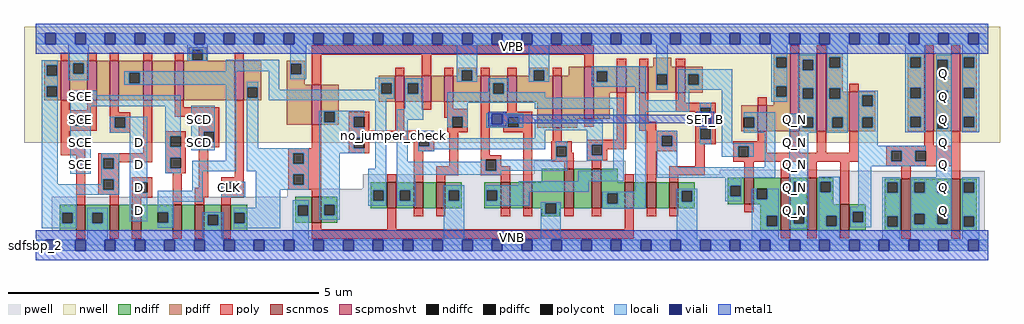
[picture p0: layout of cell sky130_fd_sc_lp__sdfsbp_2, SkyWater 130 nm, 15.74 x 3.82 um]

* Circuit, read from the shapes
.subckt sky130_fd_sc_lp__sdfsbp_2 CLK D SCD SCE SET_B VGND VNB VPB VPWR Q Q_N
XM1 VGND SCE n1 VNB sky130_fd_pr__nfet_01v8 w=0.42 l=0.15
XM2 n2 n1 VGND VNB sky130_fd_pr__nfet_01v8 w=0.42 l=0.15
XM3 n3 D n2 VNB sky130_fd_pr__nfet_01v8 w=0.42 l=0.15
XM4 n4 SCE n3 VNB sky130_fd_pr__nfet_01v8 w=0.42 l=0.15
XM5 VGND SCD n4 VNB sky130_fd_pr__nfet_01v8 w=0.42 l=0.15
XM6 n5 CLK VGND VNB sky130_fd_pr__nfet_01v8 w=0.42 l=0.15
XM7 n6 n5 VGND VNB sky130_fd_pr__nfet_01v8 w=0.42 l=0.15
XM8 n7 n5 n3 VNB sky130_fd_pr__nfet_01v8 w=0.42 l=0.15
XM9 n8 n6 n7 VNB sky130_fd_pr__nfet_01v8 w=0.42 l=0.15
XM10 VGND n9 n8 VNB sky130_fd_pr__nfet_01v8 w=0.42 l=0.15
XM11 n10 n7 n9 VNB sky130_fd_pr__nfet_01v8 w=0.42 l=0.15
XM12 VGND SET_B n10 VNB sky130_fd_pr__nfet_01v8 w=0.42 l=0.15
XM13 n11 n7 VGND VNB sky130_fd_pr__nfet_01v8 w=0.64 l=0.15
XM14 n12 n6 n11 VNB sky130_fd_pr__nfet_01v8 w=0.64 l=0.15
XM15 n13 n5 n12 VNB sky130_fd_pr__nfet_01v8 w=0.42 l=0.15
XM16 n14 n15 n13 VNB sky130_fd_pr__nfet_01v8 w=0.42 l=0.15
XM17 VGND SET_B n14 VNB sky130_fd_pr__nfet_01v8 w=0.42 l=0.15
XM18 VGND n12 n15 VNB sky130_fd_pr__nfet_01v8 w=0.42 l=0.15
XM19 Q_N n12 VGND VNB sky130_fd_pr__nfet_01v8 w=0.84 l=0.15 m=2
XM20 n16 n12 VGND VNB sky130_fd_pr__nfet_01v8 w=0.42 l=0.15
XM21 Q n16 VGND VNB sky130_fd_pr__nfet_01v8 w=0.84 l=0.15 m=2
XM22 VPWR SCE n1 VPB sky130_fd_pr__pfet_01v8_hvt w=0.64 l=0.15
XM23 n17 SCE VPWR VPB sky130_fd_pr__pfet_01v8_hvt w=0.64 l=0.15
XM24 n3 D n17 VPB sky130_fd_pr__pfet_01v8_hvt w=0.64 l=0.15
XM25 n18 n1 n3 VPB sky130_fd_pr__pfet_01v8_hvt w=0.64 l=0.15
XM26 VPWR SCD n18 VPB sky130_fd_pr__pfet_01v8_hvt w=0.64 l=0.15
XM27 n5 CLK VPWR VPB sky130_fd_pr__pfet_01v8_hvt w=0.64 l=0.15
XM28 n6 n5 VPWR VPB sky130_fd_pr__pfet_01v8_hvt w=0.64 l=0.15
XM29 n7 n6 n3 VPB sky130_fd_pr__pfet_01v8_hvt w=0.42 l=0.15
XM30 n19 n5 n7 VPB sky130_fd_pr__pfet_01v8_hvt w=0.42 l=0.15
XM31 VPWR n9 n19 VPB sky130_fd_pr__pfet_01v8_hvt w=0.42 l=0.15
XM32 n9 n7 VPWR VPB sky130_fd_pr__pfet_01v8_hvt w=0.42 l=0.15
XM33 VPWR SET_B n9 VPB sky130_fd_pr__pfet_01v8_hvt w=0.42 l=0.15
XM34 n20 n7 VPWR VPB sky130_fd_pr__pfet_01v8_hvt w=0.84 l=0.15
XM35 n12 n5 n20 VPB sky130_fd_pr__pfet_01v8_hvt w=0.84 l=0.15
XM36 n21 n6 n12 VPB sky130_fd_pr__pfet_01v8_hvt w=0.42 l=0.15
XM37 VPWR n15 n21 VPB sky130_fd_pr__pfet_01v8_hvt w=0.42 l=0.15
XM38 n12 SET_B VPWR VPB sky130_fd_pr__pfet_01v8_hvt w=0.42 l=0.15
XM39 VPWR n12 n15 VPB sky130_fd_pr__pfet_01v8_hvt w=0.42 l=0.15
XM40 Q_N n12 VPWR VPB sky130_fd_pr__pfet_01v8_hvt w=1.26 l=0.15 m=2
XM41 n16 n12 VPWR VPB sky130_fd_pr__pfet_01v8_hvt w=0.64 l=0.15
XM42 Q n16 VPWR VPB sky130_fd_pr__pfet_01v8_hvt w=1.26 l=0.15 m=2
.ends

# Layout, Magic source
magic
tech sky130A
magscale 1 2
<< nwell >>
rect -38 331 3110 704
<< pwell >>
rect 1606 229 1903 273
rect 2206 241 2598 243
rect 2206 229 3061 241
rect 1054 183 3061 229
rect 811 157 3061 183
rect 51 49 3061 157
rect 0 0 3072 49
<< scnmos >>
rect 130 47 160 131
rect 238 47 268 131
rect 310 47 340 131
rect 441 47 471 131
rect 513 47 543 131
rect 599 47 629 131
rect 890 73 920 157
rect 1133 119 1163 203
rect 1219 119 1249 203
rect 1291 119 1321 203
rect 1500 119 1530 203
rect 1572 119 1602 203
rect 1705 119 1735 247
rect 1794 119 1824 247
rect 1899 119 1929 203
rect 1971 119 2001 203
rect 2043 119 2073 203
rect 2285 133 2315 217
rect 2403 49 2433 217
rect 2489 49 2519 217
rect 2594 49 2624 133
rect 2792 47 2822 215
rect 2952 47 2982 215
<< scpmoshvt >>
rect 80 467 110 595
rect 166 467 196 595
rect 238 467 268 595
rect 346 467 376 595
rect 448 467 478 595
rect 641 467 671 595
rect 890 389 920 517
rect 1159 463 1189 547
rect 1245 463 1275 547
rect 1317 463 1347 547
rect 1435 463 1465 547
rect 1521 463 1551 547
rect 1667 379 1697 547
rect 1769 408 1799 576
rect 1874 492 1904 576
rect 1946 492 1976 576
rect 2064 492 2094 576
rect 2328 367 2358 451
rect 2433 367 2463 619
rect 2519 367 2549 619
rect 2624 367 2654 495
rect 2866 367 2896 619
rect 2952 367 2982 619
<< ndiff >>
rect 1632 203 1705 247
rect 1080 178 1133 203
rect 77 105 130 131
rect 77 71 85 105
rect 119 71 130 105
rect 77 47 130 71
rect 160 105 238 131
rect 160 71 182 105
rect 216 71 238 105
rect 160 47 238 71
rect 268 47 310 131
rect 340 106 441 131
rect 340 72 394 106
rect 428 72 441 106
rect 340 47 441 72
rect 471 47 513 131
rect 543 99 599 131
rect 543 65 554 99
rect 588 65 599 99
rect 543 47 599 65
rect 629 105 682 131
rect 629 71 640 105
rect 674 71 682 105
rect 837 129 890 157
rect 837 95 845 129
rect 879 95 890 129
rect 837 73 890 95
rect 920 130 973 157
rect 920 96 931 130
rect 965 96 973 130
rect 1080 144 1088 178
rect 1122 144 1133 178
rect 1080 119 1133 144
rect 1163 178 1219 203
rect 1163 144 1174 178
rect 1208 144 1219 178
rect 1163 119 1219 144
rect 1249 119 1291 203
rect 1321 178 1374 203
rect 1321 144 1332 178
rect 1366 144 1374 178
rect 1321 119 1374 144
rect 1447 178 1500 203
rect 1447 144 1455 178
rect 1489 144 1500 178
rect 1447 119 1500 144
rect 1530 119 1572 203
rect 1602 135 1705 203
rect 1602 119 1644 135
rect 920 73 973 96
rect 629 47 682 71
rect 1632 101 1644 119
rect 1678 119 1705 135
rect 1735 119 1794 247
rect 1824 203 1877 247
rect 1824 168 1899 203
rect 1824 134 1843 168
rect 1877 134 1899 168
rect 1824 119 1899 134
rect 1929 119 1971 203
rect 2001 119 2043 203
rect 2073 175 2126 203
rect 2073 141 2084 175
rect 2118 141 2126 175
rect 2073 119 2126 141
rect 2232 192 2285 217
rect 2232 158 2240 192
rect 2274 158 2285 192
rect 2232 133 2285 158
rect 2315 183 2403 217
rect 2315 149 2326 183
rect 2360 149 2403 183
rect 2315 133 2403 149
rect 1678 101 1690 119
rect 1632 93 1690 101
rect 2337 95 2403 133
rect 2337 61 2358 95
rect 2392 61 2403 95
rect 2337 49 2403 61
rect 2433 205 2489 217
rect 2433 171 2444 205
rect 2478 171 2489 205
rect 2433 103 2489 171
rect 2433 69 2444 103
rect 2478 69 2489 103
rect 2433 49 2489 69
rect 2519 205 2572 217
rect 2519 171 2530 205
rect 2564 171 2572 205
rect 2519 133 2572 171
rect 2739 203 2792 215
rect 2739 169 2747 203
rect 2781 169 2792 203
rect 2519 95 2594 133
rect 2519 61 2549 95
rect 2583 61 2594 95
rect 2519 49 2594 61
rect 2624 108 2677 133
rect 2624 74 2635 108
rect 2669 74 2677 108
rect 2624 49 2677 74
rect 2739 93 2792 169
rect 2739 59 2747 93
rect 2781 59 2792 93
rect 2739 47 2792 59
rect 2822 203 2952 215
rect 2822 169 2833 203
rect 2867 169 2907 203
rect 2941 169 2952 203
rect 2822 101 2952 169
rect 2822 67 2833 101
rect 2867 67 2907 101
rect 2941 67 2952 101
rect 2822 47 2952 67
rect 2982 203 3035 215
rect 2982 169 2993 203
rect 3027 169 3035 203
rect 2982 93 3035 169
rect 2982 59 2993 93
rect 3027 59 3035 93
rect 2982 47 3035 59
<< pdiff >>
rect 493 631 551 639
rect 493 597 505 631
rect 539 597 551 631
rect 493 595 551 597
rect 27 581 80 595
rect 27 547 35 581
rect 69 547 80 581
rect 27 513 80 547
rect 27 479 35 513
rect 69 479 80 513
rect 27 467 80 479
rect 110 587 166 595
rect 110 553 121 587
rect 155 553 166 587
rect 110 467 166 553
rect 196 467 238 595
rect 268 557 346 595
rect 268 523 301 557
rect 335 523 346 557
rect 268 467 346 523
rect 376 467 448 595
rect 478 467 641 595
rect 671 509 728 595
rect 671 475 682 509
rect 716 475 728 509
rect 671 467 728 475
rect 810 585 868 595
rect 810 551 822 585
rect 856 551 868 585
rect 810 517 868 551
rect 2380 607 2433 619
rect 1991 576 2049 605
rect 1362 564 1420 572
rect 1362 547 1374 564
rect 1106 522 1159 547
rect 810 389 890 517
rect 920 431 977 517
rect 1106 488 1114 522
rect 1148 488 1159 522
rect 1106 463 1159 488
rect 1189 522 1245 547
rect 1189 488 1200 522
rect 1234 488 1245 522
rect 1189 463 1245 488
rect 1275 463 1317 547
rect 1347 530 1374 547
rect 1408 547 1420 564
rect 1594 564 1652 572
rect 1594 547 1606 564
rect 1408 530 1435 547
rect 1347 463 1435 530
rect 1465 522 1521 547
rect 1465 488 1476 522
rect 1510 488 1521 522
rect 1465 463 1521 488
rect 1551 530 1606 547
rect 1640 547 1652 564
rect 1719 547 1769 576
rect 1640 530 1667 547
rect 1551 463 1667 530
rect 920 397 931 431
rect 965 397 977 431
rect 920 389 977 397
rect 1617 379 1667 463
rect 1697 408 1769 547
rect 1799 561 1874 576
rect 1799 527 1810 561
rect 1844 527 1874 561
rect 1799 492 1874 527
rect 1904 492 1946 576
rect 1976 551 2064 576
rect 1976 517 2003 551
rect 2037 517 2064 551
rect 1976 492 2064 517
rect 2094 551 2151 576
rect 2094 517 2105 551
rect 2139 517 2151 551
rect 2094 492 2151 517
rect 2380 573 2388 607
rect 2422 573 2433 607
rect 2380 513 2433 573
rect 1799 408 1852 492
rect 1697 379 1747 408
rect 2380 479 2388 513
rect 2422 479 2433 513
rect 2380 451 2433 479
rect 2275 413 2328 451
rect 2275 379 2283 413
rect 2317 379 2328 413
rect 2275 367 2328 379
rect 2358 367 2433 451
rect 2463 599 2519 619
rect 2463 565 2474 599
rect 2508 565 2519 599
rect 2463 507 2519 565
rect 2463 473 2474 507
rect 2508 473 2519 507
rect 2463 413 2519 473
rect 2463 379 2474 413
rect 2508 379 2519 413
rect 2463 367 2519 379
rect 2549 607 2602 619
rect 2549 573 2560 607
rect 2594 573 2602 607
rect 2549 506 2602 573
rect 2813 607 2866 619
rect 2813 573 2821 607
rect 2855 573 2866 607
rect 2549 472 2560 506
rect 2594 495 2602 506
rect 2813 508 2866 573
rect 2594 472 2624 495
rect 2549 413 2624 472
rect 2549 379 2569 413
rect 2603 379 2624 413
rect 2549 367 2624 379
rect 2654 483 2707 495
rect 2654 449 2665 483
rect 2699 449 2707 483
rect 2654 413 2707 449
rect 2654 379 2665 413
rect 2699 379 2707 413
rect 2654 367 2707 379
rect 2813 474 2821 508
rect 2855 474 2866 508
rect 2813 414 2866 474
rect 2813 380 2821 414
rect 2855 380 2866 414
rect 2813 367 2866 380
rect 2896 599 2952 619
rect 2896 565 2907 599
rect 2941 565 2952 599
rect 2896 498 2952 565
rect 2896 464 2907 498
rect 2941 464 2952 498
rect 2896 409 2952 464
rect 2896 375 2907 409
rect 2941 375 2952 409
rect 2896 367 2952 375
rect 2982 607 3035 619
rect 2982 573 2993 607
rect 3027 573 3035 607
rect 2982 508 3035 573
rect 2982 474 2993 508
rect 3027 474 3035 508
rect 2982 414 3035 474
rect 2982 380 2993 414
rect 3027 380 3035 414
rect 2982 367 3035 380
<< ndiffc >>
rect 85 71 119 105
rect 182 71 216 105
rect 394 72 428 106
rect 554 65 588 99
rect 640 71 674 105
rect 845 95 879 129
rect 931 96 965 130
rect 1088 144 1122 178
rect 1174 144 1208 178
rect 1332 144 1366 178
rect 1455 144 1489 178
rect 1644 101 1678 135
rect 1843 134 1877 168
rect 2084 141 2118 175
rect 2240 158 2274 192
rect 2326 149 2360 183
rect 2358 61 2392 95
rect 2444 171 2478 205
rect 2444 69 2478 103
rect 2530 171 2564 205
rect 2747 169 2781 203
rect 2549 61 2583 95
rect 2635 74 2669 108
rect 2747 59 2781 93
rect 2833 169 2867 203
rect 2907 169 2941 203
rect 2833 67 2867 101
rect 2907 67 2941 101
rect 2993 169 3027 203
rect 2993 59 3027 93
<< pdiffc >>
rect 505 597 539 631
rect 35 547 69 581
rect 35 479 69 513
rect 121 553 155 587
rect 301 523 335 557
rect 682 475 716 509
rect 822 551 856 585
rect 1114 488 1148 522
rect 1200 488 1234 522
rect 1374 530 1408 564
rect 1476 488 1510 522
rect 1606 530 1640 564
rect 931 397 965 431
rect 1810 527 1844 561
rect 2003 517 2037 551
rect 2105 517 2139 551
rect 2388 573 2422 607
rect 2388 479 2422 513
rect 2283 379 2317 413
rect 2474 565 2508 599
rect 2474 473 2508 507
rect 2474 379 2508 413
rect 2560 573 2594 607
rect 2821 573 2855 607
rect 2560 472 2594 506
rect 2569 379 2603 413
rect 2665 449 2699 483
rect 2665 379 2699 413
rect 2821 474 2855 508
rect 2821 380 2855 414
rect 2907 565 2941 599
rect 2907 464 2941 498
rect 2907 375 2941 409
rect 2993 573 3027 607
rect 2993 474 3027 508
rect 2993 380 3027 414
<< poly >>
rect 80 595 110 621
rect 166 595 196 621
rect 238 595 268 621
rect 346 595 376 621
rect 448 595 478 621
rect 641 595 671 621
rect 890 615 1799 645
rect 2433 619 2463 645
rect 2519 619 2549 645
rect 2866 619 2896 645
rect 2952 619 2982 645
rect 890 517 920 615
rect 1159 547 1189 573
rect 1245 547 1275 615
rect 1769 576 1799 615
rect 1874 576 1904 602
rect 1946 576 1976 602
rect 2064 576 2094 602
rect 1317 547 1347 573
rect 80 435 110 467
rect 166 435 196 467
rect 80 419 196 435
rect 80 385 127 419
rect 161 385 196 419
rect 80 369 196 385
rect 238 429 268 467
rect 238 413 304 429
rect 238 379 254 413
rect 288 379 304 413
rect 80 321 110 369
rect 238 363 304 379
rect 80 291 160 321
rect 346 297 376 467
rect 448 445 478 467
rect 448 415 592 445
rect 130 131 160 291
rect 202 281 376 297
rect 202 247 218 281
rect 252 267 376 281
rect 418 351 484 367
rect 418 317 434 351
rect 468 317 484 351
rect 418 283 484 317
rect 252 247 268 267
rect 202 213 268 247
rect 418 249 434 283
rect 468 249 484 283
rect 418 233 484 249
rect 526 366 592 415
rect 526 332 542 366
rect 576 332 592 366
rect 526 316 592 332
rect 202 179 218 213
rect 252 179 268 213
rect 202 163 268 179
rect 238 131 268 163
rect 310 203 376 219
rect 310 169 326 203
rect 360 169 376 203
rect 310 153 376 169
rect 310 131 340 153
rect 441 131 471 233
rect 526 185 556 316
rect 641 219 671 467
rect 1435 547 1465 573
rect 1521 547 1551 573
rect 1667 547 1697 573
rect 1009 415 1075 431
rect 890 313 920 389
rect 513 155 556 185
rect 599 203 671 219
rect 599 169 615 203
rect 649 169 671 203
rect 815 297 920 313
rect 1009 381 1025 415
rect 1059 381 1075 415
rect 1009 369 1075 381
rect 1159 369 1189 463
rect 1245 437 1275 463
rect 1317 441 1347 463
rect 1317 415 1393 441
rect 1317 411 1343 415
rect 1327 381 1343 411
rect 1377 381 1393 415
rect 1009 353 1285 369
rect 1327 365 1393 381
rect 1009 347 1235 353
rect 1009 313 1025 347
rect 1059 339 1235 347
rect 1059 313 1075 339
rect 1009 297 1075 313
rect 1219 319 1235 339
rect 1269 319 1285 353
rect 1219 303 1285 319
rect 815 263 831 297
rect 865 263 920 297
rect 815 229 920 263
rect 815 195 831 229
rect 865 195 920 229
rect 1133 203 1163 229
rect 1219 203 1249 303
rect 1333 255 1363 365
rect 1291 225 1363 255
rect 1435 291 1465 463
rect 1521 431 1551 463
rect 1507 415 1602 431
rect 1507 381 1523 415
rect 1557 381 1602 415
rect 1507 365 1602 381
rect 1769 382 1799 408
rect 1435 275 1501 291
rect 1435 241 1451 275
rect 1485 255 1501 275
rect 1485 241 1530 255
rect 1435 225 1530 241
rect 1291 203 1321 225
rect 1500 203 1530 225
rect 1572 203 1602 365
rect 1667 335 1697 379
rect 1874 340 1904 492
rect 1946 399 1976 492
rect 2064 460 2094 492
rect 2064 444 2193 460
rect 2328 451 2358 477
rect 2064 430 2143 444
rect 2127 410 2143 430
rect 2177 410 2193 444
rect 1946 369 2001 399
rect 2127 376 2193 410
rect 1663 319 1729 335
rect 1663 285 1679 319
rect 1713 299 1729 319
rect 1777 324 1904 340
rect 1713 285 1735 299
rect 1663 269 1735 285
rect 1777 290 1793 324
rect 1827 310 1904 324
rect 1971 353 2069 369
rect 1971 319 2019 353
rect 2053 319 2069 353
rect 1827 290 1843 310
rect 1777 274 1843 290
rect 1971 303 2069 319
rect 2127 342 2143 376
rect 2177 342 2193 376
rect 2624 495 2654 521
rect 2127 326 2193 342
rect 2328 335 2358 367
rect 1705 247 1735 269
rect 1794 247 1824 274
rect 815 179 920 195
rect 513 131 543 155
rect 599 153 671 169
rect 890 157 920 179
rect 599 131 629 153
rect 890 51 920 73
rect 1133 51 1163 119
rect 1219 93 1249 119
rect 1291 93 1321 119
rect 1500 93 1530 119
rect 1572 93 1602 119
rect 1899 203 1929 229
rect 1971 203 2001 303
rect 2127 255 2157 326
rect 2249 319 2358 335
rect 2249 285 2265 319
rect 2299 299 2358 319
rect 2433 299 2463 367
rect 2519 299 2549 367
rect 2624 299 2654 367
rect 2866 321 2896 367
rect 2952 321 2982 367
rect 2299 285 2654 299
rect 2249 269 2654 285
rect 2743 305 2982 321
rect 2743 271 2759 305
rect 2793 271 2837 305
rect 2871 271 2982 305
rect 2043 225 2157 255
rect 2043 203 2073 225
rect 2285 217 2315 269
rect 2403 217 2433 269
rect 2489 217 2519 269
rect 1705 93 1735 119
rect 1794 93 1824 119
rect 1899 51 1929 119
rect 1971 93 2001 119
rect 2043 93 2073 119
rect 2285 107 2315 133
rect 130 21 160 47
rect 238 21 268 47
rect 310 21 340 47
rect 441 21 471 47
rect 513 21 543 47
rect 599 21 629 47
rect 890 21 1929 51
rect 2594 133 2624 269
rect 2743 255 2982 271
rect 2792 215 2822 255
rect 2952 215 2982 255
rect 2403 23 2433 49
rect 2489 23 2519 49
rect 2594 23 2624 49
rect 2792 21 2822 47
rect 2952 21 2982 47
<< polycont >>
rect 127 385 161 419
rect 254 379 288 413
rect 218 247 252 281
rect 434 317 468 351
rect 434 249 468 283
rect 542 332 576 366
rect 218 179 252 213
rect 326 169 360 203
rect 615 169 649 203
rect 1025 381 1059 415
rect 1343 381 1377 415
rect 1025 313 1059 347
rect 1235 319 1269 353
rect 831 263 865 297
rect 831 195 865 229
rect 1523 381 1557 415
rect 1451 241 1485 275
rect 2143 410 2177 444
rect 1679 285 1713 319
rect 1793 290 1827 324
rect 2019 319 2053 353
rect 2143 342 2177 376
rect 2265 285 2299 319
rect 2759 271 2793 305
rect 2837 271 2871 305
<< locali >>
rect 0 649 31 683
rect 65 649 127 683
rect 161 649 223 683
rect 257 649 319 683
rect 353 649 415 683
rect 449 649 511 683
rect 545 649 607 683
rect 641 649 703 683
rect 737 649 799 683
rect 833 649 895 683
rect 929 649 991 683
rect 1025 649 1087 683
rect 1121 649 1183 683
rect 1217 649 1279 683
rect 1313 649 1375 683
rect 1409 649 1471 683
rect 1505 649 1567 683
rect 1601 649 1663 683
rect 1697 649 1759 683
rect 1793 649 1855 683
rect 1889 649 1951 683
rect 1985 649 2047 683
rect 2081 649 2143 683
rect 2177 649 2239 683
rect 2273 649 2335 683
rect 2369 649 2431 683
rect 2465 649 2527 683
rect 2561 649 2623 683
rect 2657 649 2719 683
rect 2753 649 2815 683
rect 2849 649 2911 683
rect 2945 649 3007 683
rect 3041 649 3072 683
rect 19 581 71 597
rect 19 547 35 581
rect 69 547 71 581
rect 19 513 71 547
rect 105 587 171 649
rect 489 631 555 649
rect 489 597 505 631
rect 539 597 555 631
rect 489 595 555 597
rect 105 553 121 587
rect 155 553 171 587
rect 612 561 786 599
rect 105 532 171 553
rect 285 557 646 561
rect 285 523 301 557
rect 335 523 646 557
rect 285 517 646 523
rect 19 479 35 513
rect 69 479 71 513
rect 19 197 71 479
rect 111 483 197 498
rect 111 449 468 483
rect 111 419 177 449
rect 111 385 127 419
rect 161 385 177 419
rect 111 231 177 385
rect 238 413 360 415
rect 238 379 254 413
rect 288 379 360 413
rect 238 363 360 379
rect 211 281 269 297
rect 211 247 218 281
rect 252 247 269 281
rect 211 213 269 247
rect 211 197 218 213
rect 19 179 218 197
rect 252 179 269 213
rect 19 163 269 179
rect 303 203 360 363
rect 418 351 468 449
rect 418 317 434 351
rect 418 283 468 317
rect 502 366 578 450
rect 502 332 542 366
rect 576 332 578 366
rect 502 307 578 332
rect 418 249 434 283
rect 612 273 646 517
rect 418 233 468 249
rect 504 239 646 273
rect 680 509 718 527
rect 680 475 682 509
rect 716 475 718 509
rect 680 313 718 475
rect 752 501 786 561
rect 820 585 872 649
rect 820 551 822 585
rect 856 551 872 585
rect 820 535 872 551
rect 1358 564 1424 649
rect 1095 522 1156 541
rect 1095 501 1114 522
rect 752 488 1114 501
rect 1148 488 1156 522
rect 752 472 1156 488
rect 1190 522 1250 538
rect 1358 530 1374 564
rect 1408 530 1424 564
rect 1590 564 1656 649
rect 1358 528 1424 530
rect 1190 488 1200 522
rect 1234 488 1250 522
rect 1460 522 1526 538
rect 1590 530 1606 564
rect 1640 530 1656 564
rect 1590 528 1656 530
rect 1794 561 1967 577
rect 1460 494 1476 522
rect 752 467 1131 472
rect 915 431 1059 433
rect 915 397 931 431
rect 965 415 1059 431
rect 965 397 1025 415
rect 915 381 1025 397
rect 915 347 1059 381
rect 915 313 1025 347
rect 680 297 881 313
rect 680 263 831 297
rect 865 263 881 297
rect 680 239 881 263
rect 303 169 326 203
rect 504 175 538 239
rect 710 229 881 239
rect 19 105 132 163
rect 19 71 85 105
rect 119 71 132 105
rect 19 55 132 71
rect 166 105 232 121
rect 166 71 182 105
rect 216 71 232 105
rect 303 77 360 169
rect 394 141 538 175
rect 599 203 676 205
rect 599 169 615 203
rect 649 169 676 203
rect 599 155 676 169
rect 710 195 831 229
rect 865 195 881 229
rect 710 179 881 195
rect 915 297 1059 313
rect 394 106 444 141
rect 710 121 788 179
rect 166 17 232 71
rect 428 72 444 106
rect 394 56 444 72
rect 538 99 604 107
rect 538 65 554 99
rect 588 65 604 99
rect 538 17 604 65
rect 638 105 788 121
rect 638 71 640 105
rect 674 71 788 105
rect 638 55 788 71
rect 829 129 881 145
rect 829 95 845 129
rect 879 95 881 129
rect 829 17 881 95
rect 915 130 981 297
rect 1095 247 1131 467
rect 1190 438 1250 488
rect 915 96 931 130
rect 965 96 981 130
rect 1072 178 1131 247
rect 1072 144 1088 178
rect 1122 144 1131 178
rect 1072 128 1131 144
rect 1165 404 1250 438
rect 1327 488 1476 494
rect 1510 494 1526 522
rect 1794 527 1810 561
rect 1844 527 1967 561
rect 1794 511 1967 527
rect 1510 488 1643 494
rect 1327 475 1643 488
rect 1327 460 1897 475
rect 1327 415 1393 460
rect 1609 441 1897 460
rect 1165 269 1199 404
rect 1327 381 1343 415
rect 1377 381 1393 415
rect 1453 424 1573 426
rect 1453 390 1471 424
rect 1505 415 1573 424
rect 1505 390 1523 415
rect 1453 381 1523 390
rect 1557 381 1573 415
rect 1453 379 1573 381
rect 1609 371 1829 405
rect 1233 353 1285 369
rect 1233 319 1235 353
rect 1269 345 1285 353
rect 1609 345 1643 371
rect 1269 319 1643 345
rect 1233 309 1643 319
rect 1677 319 1715 335
rect 1233 303 1286 309
rect 1677 285 1679 319
rect 1713 285 1715 319
rect 1677 275 1715 285
rect 1435 269 1451 275
rect 1165 241 1451 269
rect 1485 241 1715 275
rect 1777 324 1829 371
rect 1777 290 1793 324
rect 1827 290 1829 324
rect 1777 274 1829 290
rect 1165 228 1501 241
rect 1863 240 1897 441
rect 1165 178 1224 228
rect 1749 207 1897 240
rect 1558 206 1897 207
rect 1933 467 1967 511
rect 2001 551 2039 649
rect 2372 607 2424 649
rect 2372 573 2388 607
rect 2422 573 2424 607
rect 2001 517 2003 551
rect 2037 517 2039 551
rect 2001 501 2039 517
rect 2073 551 2247 567
rect 2073 517 2105 551
rect 2139 517 2247 551
rect 2073 501 2247 517
rect 2073 467 2107 501
rect 1933 431 2107 467
rect 2141 444 2179 460
rect 1558 194 1783 206
rect 1165 144 1174 178
rect 1208 144 1224 178
rect 1165 128 1224 144
rect 1316 178 1382 194
rect 1316 144 1332 178
rect 1366 144 1382 178
rect 915 82 981 96
rect 1316 17 1382 144
rect 1451 178 1783 194
rect 1451 144 1455 178
rect 1489 173 1783 178
rect 1489 144 1592 173
rect 1933 172 1967 431
rect 2141 390 2143 444
rect 2177 390 2179 444
rect 2141 376 2179 390
rect 2003 353 2069 369
rect 2003 319 2019 353
rect 2053 319 2069 353
rect 2141 342 2143 376
rect 2177 342 2179 376
rect 2141 326 2179 342
rect 2213 329 2247 501
rect 2372 513 2424 573
rect 2372 479 2388 513
rect 2422 479 2424 513
rect 2372 463 2424 479
rect 2458 599 2517 615
rect 2458 565 2474 599
rect 2508 565 2517 599
rect 2458 507 2517 565
rect 2458 473 2474 507
rect 2508 473 2517 507
rect 2283 413 2385 429
rect 2458 424 2517 473
rect 2317 379 2385 413
rect 2283 363 2385 379
rect 2003 251 2069 319
rect 2213 319 2315 329
rect 2213 285 2265 319
rect 2299 285 2315 319
rect 2351 251 2385 363
rect 2003 217 2385 251
rect 2431 413 2517 424
rect 2431 379 2474 413
rect 2508 379 2517 413
rect 2431 363 2517 379
rect 2551 607 2619 649
rect 2551 573 2560 607
rect 2594 573 2619 607
rect 2551 506 2619 573
rect 2551 472 2560 506
rect 2594 472 2619 506
rect 2805 607 2871 649
rect 2805 573 2821 607
rect 2855 573 2871 607
rect 2805 508 2871 573
rect 2551 413 2619 472
rect 2551 379 2569 413
rect 2603 379 2619 413
rect 2551 363 2619 379
rect 2653 483 2715 499
rect 2653 449 2665 483
rect 2699 449 2715 483
rect 2653 413 2715 449
rect 2653 379 2665 413
rect 2699 379 2715 413
rect 2224 192 2276 217
rect 1451 128 1592 144
rect 1827 168 1967 172
rect 1628 135 1694 139
rect 1628 101 1644 135
rect 1678 101 1694 135
rect 1827 134 1843 168
rect 1877 134 1967 168
rect 1827 118 1967 134
rect 2068 175 2134 183
rect 2068 141 2084 175
rect 2118 141 2134 175
rect 2224 158 2240 192
rect 2274 158 2276 192
rect 2431 205 2492 363
rect 2653 321 2715 379
rect 2805 474 2821 508
rect 2855 474 2871 508
rect 2805 414 2871 474
rect 2805 380 2821 414
rect 2855 380 2871 414
rect 2805 364 2871 380
rect 2905 599 2955 615
rect 2905 565 2907 599
rect 2941 565 2955 599
rect 2905 498 2955 565
rect 2905 464 2907 498
rect 2941 464 2955 498
rect 2905 409 2955 464
rect 2905 375 2907 409
rect 2941 375 2955 409
rect 2653 305 2871 321
rect 2653 271 2759 305
rect 2793 271 2837 305
rect 2653 255 2871 271
rect 2224 142 2276 158
rect 2310 149 2326 183
rect 2360 149 2397 183
rect 1628 17 1694 101
rect 2068 17 2134 141
rect 2310 95 2397 149
rect 2310 61 2358 95
rect 2392 61 2397 95
rect 2310 17 2397 61
rect 2431 171 2444 205
rect 2478 171 2492 205
rect 2431 103 2492 171
rect 2431 69 2444 103
rect 2478 69 2492 103
rect 2431 53 2492 69
rect 2526 205 2593 221
rect 2526 171 2530 205
rect 2564 171 2593 205
rect 2526 95 2593 171
rect 2653 124 2695 255
rect 2905 219 2955 375
rect 2989 607 3043 649
rect 2989 573 2993 607
rect 3027 573 3043 607
rect 2989 508 3043 573
rect 2989 474 2993 508
rect 3027 474 3043 508
rect 2989 414 3043 474
rect 2989 380 2993 414
rect 3027 380 3043 414
rect 2989 364 3043 380
rect 2526 61 2549 95
rect 2583 61 2593 95
rect 2526 17 2593 61
rect 2627 108 2695 124
rect 2627 74 2635 108
rect 2669 74 2695 108
rect 2627 58 2695 74
rect 2731 203 2788 219
rect 2731 169 2747 203
rect 2781 169 2788 203
rect 2731 93 2788 169
rect 2731 59 2747 93
rect 2781 59 2788 93
rect 2731 17 2788 59
rect 2822 203 2955 219
rect 2822 169 2833 203
rect 2867 169 2907 203
rect 2941 169 2955 203
rect 2822 101 2955 169
rect 2822 67 2833 101
rect 2867 67 2907 101
rect 2941 67 2955 101
rect 2822 51 2955 67
rect 2989 203 3043 219
rect 2989 169 2993 203
rect 3027 169 3043 203
rect 2989 93 3043 169
rect 2989 59 2993 93
rect 3027 59 3043 93
rect 2989 17 3043 59
rect 0 -17 31 17
rect 65 -17 127 17
rect 161 -17 223 17
rect 257 -17 319 17
rect 353 -17 415 17
rect 449 -17 511 17
rect 545 -17 607 17
rect 641 -17 703 17
rect 737 -17 799 17
rect 833 -17 895 17
rect 929 -17 991 17
rect 1025 -17 1087 17
rect 1121 -17 1183 17
rect 1217 -17 1279 17
rect 1313 -17 1375 17
rect 1409 -17 1471 17
rect 1505 -17 1567 17
rect 1601 -17 1663 17
rect 1697 -17 1759 17
rect 1793 -17 1855 17
rect 1889 -17 1951 17
rect 1985 -17 2047 17
rect 2081 -17 2143 17
rect 2177 -17 2239 17
rect 2273 -17 2335 17
rect 2369 -17 2431 17
rect 2465 -17 2527 17
rect 2561 -17 2623 17
rect 2657 -17 2719 17
rect 2753 -17 2815 17
rect 2849 -17 2911 17
rect 2945 -17 3007 17
rect 3041 -17 3072 17
<< viali >>
rect 31 649 65 683
rect 127 649 161 683
rect 223 649 257 683
rect 319 649 353 683
rect 415 649 449 683
rect 511 649 545 683
rect 607 649 641 683
rect 703 649 737 683
rect 799 649 833 683
rect 895 649 929 683
rect 991 649 1025 683
rect 1087 649 1121 683
rect 1183 649 1217 683
rect 1279 649 1313 683
rect 1375 649 1409 683
rect 1471 649 1505 683
rect 1567 649 1601 683
rect 1663 649 1697 683
rect 1759 649 1793 683
rect 1855 649 1889 683
rect 1951 649 1985 683
rect 2047 649 2081 683
rect 2143 649 2177 683
rect 2239 649 2273 683
rect 2335 649 2369 683
rect 2431 649 2465 683
rect 2527 649 2561 683
rect 2623 649 2657 683
rect 2719 649 2753 683
rect 2815 649 2849 683
rect 2911 649 2945 683
rect 3007 649 3041 683
rect 1471 390 1505 424
rect 2143 410 2177 424
rect 2143 390 2177 410
rect 31 -17 65 17
rect 127 -17 161 17
rect 223 -17 257 17
rect 319 -17 353 17
rect 415 -17 449 17
rect 511 -17 545 17
rect 607 -17 641 17
rect 703 -17 737 17
rect 799 -17 833 17
rect 895 -17 929 17
rect 991 -17 1025 17
rect 1087 -17 1121 17
rect 1183 -17 1217 17
rect 1279 -17 1313 17
rect 1375 -17 1409 17
rect 1471 -17 1505 17
rect 1567 -17 1601 17
rect 1663 -17 1697 17
rect 1759 -17 1793 17
rect 1855 -17 1889 17
rect 1951 -17 1985 17
rect 2047 -17 2081 17
rect 2143 -17 2177 17
rect 2239 -17 2273 17
rect 2335 -17 2369 17
rect 2431 -17 2465 17
rect 2527 -17 2561 17
rect 2623 -17 2657 17
rect 2719 -17 2753 17
rect 2815 -17 2849 17
rect 2911 -17 2945 17
rect 3007 -17 3041 17
<< metal1 >>
rect 0 683 3072 715
rect 0 649 31 683
rect 65 649 127 683
rect 161 649 223 683
rect 257 649 319 683
rect 353 649 415 683
rect 449 649 511 683
rect 545 649 607 683
rect 641 649 703 683
rect 737 649 799 683
rect 833 649 895 683
rect 929 649 991 683
rect 1025 649 1087 683
rect 1121 649 1183 683
rect 1217 649 1279 683
rect 1313 649 1375 683
rect 1409 649 1471 683
rect 1505 649 1567 683
rect 1601 649 1663 683
rect 1697 649 1759 683
rect 1793 649 1855 683
rect 1889 649 1951 683
rect 1985 649 2047 683
rect 2081 649 2143 683
rect 2177 649 2239 683
rect 2273 649 2335 683
rect 2369 649 2431 683
rect 2465 649 2527 683
rect 2561 649 2623 683
rect 2657 649 2719 683
rect 2753 649 2815 683
rect 2849 649 2911 683
rect 2945 649 3007 683
rect 3041 649 3072 683
rect 0 617 3072 649
rect 1459 424 1517 430
rect 1459 390 1471 424
rect 1505 421 1517 424
rect 2131 424 2189 430
rect 2131 421 2143 424
rect 1505 393 2143 421
rect 1505 390 1517 393
rect 1459 384 1517 390
rect 2131 390 2143 393
rect 2177 390 2189 424
rect 2131 384 2189 390
rect 0 17 3072 49
rect 0 -17 31 17
rect 65 -17 127 17
rect 161 -17 223 17
rect 257 -17 319 17
rect 353 -17 415 17
rect 449 -17 511 17
rect 545 -17 607 17
rect 641 -17 703 17
rect 737 -17 799 17
rect 833 -17 895 17
rect 929 -17 991 17
rect 1025 -17 1087 17
rect 1121 -17 1183 17
rect 1217 -17 1279 17
rect 1313 -17 1375 17
rect 1409 -17 1471 17
rect 1505 -17 1567 17
rect 1601 -17 1663 17
rect 1697 -17 1759 17
rect 1793 -17 1855 17
rect 1889 -17 1951 17
rect 1985 -17 2047 17
rect 2081 -17 2143 17
rect 2177 -17 2239 17
rect 2273 -17 2335 17
rect 2369 -17 2431 17
rect 2465 -17 2527 17
rect 2561 -17 2623 17
rect 2657 -17 2719 17
rect 2753 -17 2815 17
rect 2849 -17 2911 17
rect 2945 -17 3007 17
rect 3041 -17 3072 17
rect 0 -49 3072 -17
<< labels >>
flabel pwell s 0 0 3072 49 0 FreeSans 200 0 0 0 VNB
port 7 nsew ground bidirectional
flabel nwell s 0 617 3072 666 0 FreeSans 200 0 0 0 VPB
port 8 nsew power bidirectional
rlabel comment s 0 0 0 0 4 sdfsbp_2
flabel comment s 1154 355 1154 355 0 FreeSans 200 0 0 0 no_jumper_check
flabel metal1 s 2143 390 2177 424 0 FreeSans 200 0 0 0 SET_B
port 5 nsew signal input
flabel metal1 s 0 617 3072 666 0 FreeSans 340 0 0 0 VPWR
port 9 nsew power bidirectional
flabel metal1 s 0 0 3072 49 0 FreeSans 340 0 0 0 VGND
port 6 nsew ground bidirectional
flabel locali s 2911 94 2945 128 0 FreeSans 340 0 0 0 Q
port 10 nsew signal output
flabel locali s 2911 168 2945 202 0 FreeSans 340 0 0 0 Q
port 10 nsew signal output
flabel locali s 2911 242 2945 276 0 FreeSans 340 0 0 0 Q
port 10 nsew signal output
flabel locali s 2911 316 2945 350 0 FreeSans 340 0 0 0 Q
port 10 nsew signal output
flabel locali s 2911 390 2945 424 0 FreeSans 340 0 0 0 Q
port 10 nsew signal output
flabel locali s 2911 464 2945 498 0 FreeSans 340 0 0 0 Q
port 10 nsew signal output
flabel locali s 2911 538 2945 572 0 FreeSans 340 0 0 0 Q
port 10 nsew signal output
flabel locali s 607 168 641 202 0 FreeSans 340 0 0 0 CLK
port 1 nsew clock input
flabel locali s 127 242 161 276 0 FreeSans 340 0 0 0 SCE
port 4 nsew signal input
flabel locali s 127 316 161 350 0 FreeSans 340 0 0 0 SCE
port 4 nsew signal input
flabel locali s 127 390 161 424 0 FreeSans 340 0 0 0 SCE
port 4 nsew signal input
flabel locali s 127 464 161 498 0 FreeSans 340 0 0 0 SCE
port 4 nsew signal input
flabel locali s 511 316 545 350 0 FreeSans 340 0 0 0 SCD
port 3 nsew signal input
flabel locali s 511 390 545 424 0 FreeSans 340 0 0 0 SCD
port 3 nsew signal input
flabel locali s 319 94 353 128 0 FreeSans 340 0 0 0 D
port 2 nsew signal input
flabel locali s 319 168 353 202 0 FreeSans 340 0 0 0 D
port 2 nsew signal input
flabel locali s 319 242 353 276 0 FreeSans 340 0 0 0 D
port 2 nsew signal input
flabel locali s 319 316 353 350 0 FreeSans 340 0 0 0 D
port 2 nsew signal input
flabel locali s 2431 94 2465 128 0 FreeSans 340 0 0 0 Q_N
port 11 nsew signal output
flabel locali s 2431 168 2465 202 0 FreeSans 340 0 0 0 Q_N
port 11 nsew signal output
flabel locali s 2431 242 2465 276 0 FreeSans 340 0 0 0 Q_N
port 11 nsew signal output
flabel locali s 2431 316 2465 350 0 FreeSans 340 0 0 0 Q_N
port 11 nsew signal output
flabel locali s 2431 390 2465 424 0 FreeSans 340 0 0 0 Q_N
port 11 nsew signal output
<< properties >>
string LEFsite unit
string LEFclass CORE
string FIXED_BBOX 0 0 3072 666
string GDS_FILE $PDKPATH/libs.ref/sky130_fd_sc_lp/gds/sky130_fd_sc_lp.gds
string LEFsymmetry X Y R90
string GDS_END 5615834
string GDS_START 5593972
<< end >>
